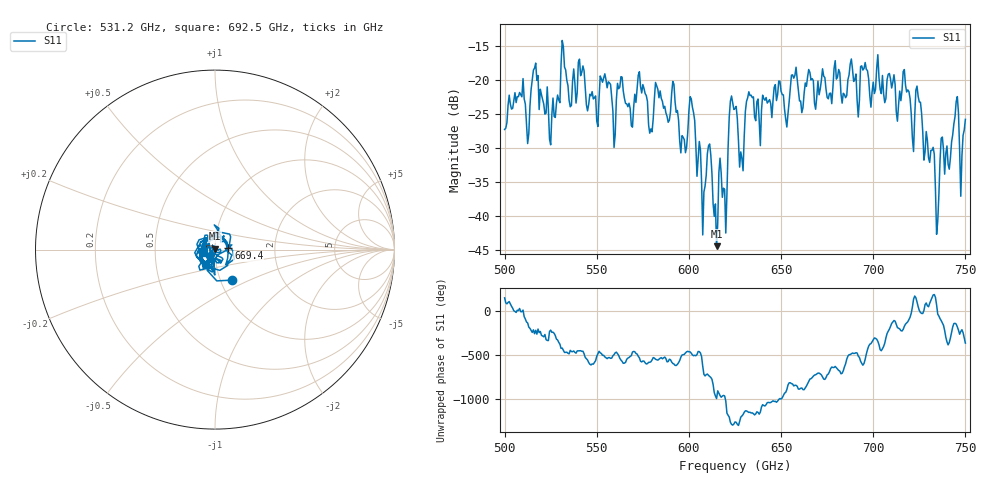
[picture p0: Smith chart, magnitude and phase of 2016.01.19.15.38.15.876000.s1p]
!Created with skrf (http://scikit-rf.org).
# GHz S RI R 50.0
!freq ReS11 ImS11
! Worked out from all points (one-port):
!   401 points, 500 GHz to 750 GHz, reference 50 ohm
!   lowest |S11| = -44.4 dB at 615 GHz (marker M1), VSWR 1.01, Z = 50 + j0.601 ohm
!   |S11| at or under -10 dB: start of sweep to end of sweep
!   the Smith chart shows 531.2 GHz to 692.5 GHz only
!   S11 on the Smith chart (normalised r, x): 531.2 GHz: 1.13, -0.40; 669.4 GHz: 1.16, +0.02; 692.5 GHz: 0.87, -0.03
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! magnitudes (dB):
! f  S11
! 500 GHz  -27.3
! 512.5 GHz  -29.4
! 516.9 GHz  -17.6
! 525.6 GHz  -25.2
! 531.2 GHz  -14.3
! 559.4 GHz  -29.9
! 562.5 GHz  -21.1
! 593.8 GHz  -24.5
! 601.9 GHz  -24.0
! 608.1 GHz  -36.5
! 611.2 GHz  -29.4
! 615 GHz  -44.4
! 619.4 GHz  -36.1
! 622.5 GHz  -23.2
! 625 GHz  -24.2
! 628.1 GHz  -30.6
! 632.5 GHz  -21.8
! 653.1 GHz  -26.9
! 656.2 GHz  -19.3
! 669.4 GHz  -22.5
! 687.5 GHz  -17.7
! 692.5 GHz  -23.0
! 718.8 GHz  -21.5
! 724.4 GHz  -22.5
! 735 GHz  -40.7
! 745 GHz  -23.2
! 748.1 GHz  -31.2
! 750 GHz  -25.8
